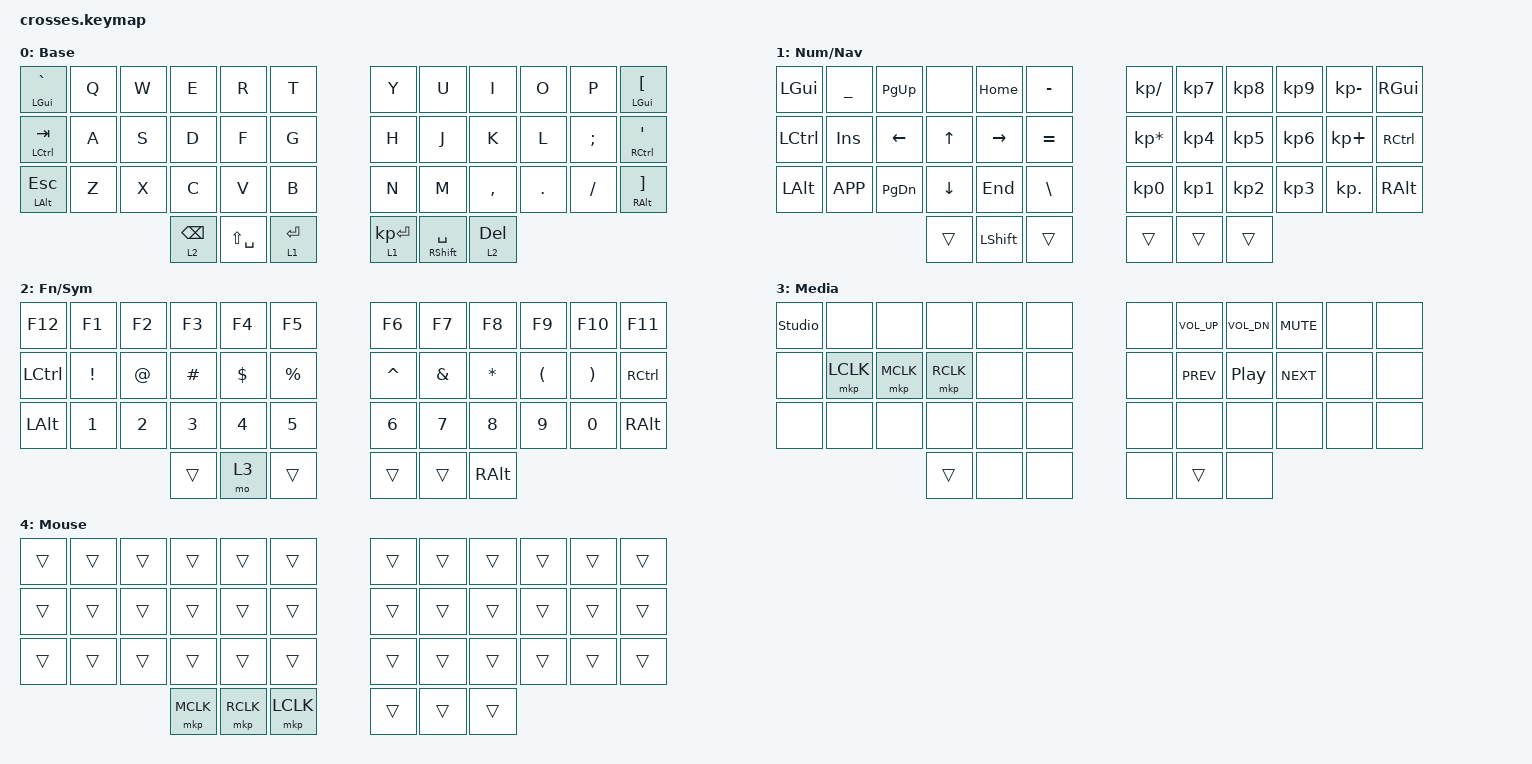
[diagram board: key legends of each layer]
#include <behaviors.dtsi>
#include <dt-bindings/zmk/bt.h>
#include <dt-bindings/zmk/keys.h>
#include <dt-bindings/zmk/pointing.h>

/ {
    chosen { zmk,physical-layout = &gggw_crosses_42_layout; };

    behaviors {
        // home-row mod-tap: tap-preferred ~= QMK default mod-tap (no early hold on rollover)
        hm: home_row_mod {
            compatible = "zmk,behavior-hold-tap";
            #binding-cells = <2>;
            flavor = "tap-preferred";
            tapping-term-ms = <200>;
            quick-tap-ms = <175>;
            bindings = <&kp>, <&kp>;
        };

        // Thumb mod-tap: "balanced" so the modifier engages on a chord (press+release
        // of another key during the hold) -> reliable Shift+Enter etc. Thumbs rarely
        // get rolled like home-row keys, so this is safe here (letters keep tap-preferred).
        thm: thumb_mod_tap {
            compatible = "zmk,behavior-hold-tap";
            #binding-cells = <2>;
            flavor = "balanced";
            tapping-term-ms = <200>;
            quick-tap-ms = <175>;
            bindings = <&kp>, <&kp>;
        };
    };

    // Tri-layer: holding the Nav (1) and Fn (2) thumb-layers together activates
    // Media (3) -> easy media access without sacrificing any base key.
    conditional_layers {
        compatible = "zmk,conditional-layers";
        tri_media {
            if-layers = <1 2>;
            then-layer = <3>;
        };
    };

    keymap {
        compatible = "zmk,keymap";

        // Layer 0 — Base (QWERTY + home-row mods + layer-tap thumbs), 1:1 з Corne
        default_layer {
            display-name = "Base";
            bindings = <
                &hm LGUI GRAVE  &kp Q &kp W &kp E &kp R &kp T      &kp Y &kp U &kp I     &kp O   &kp P    &hm LGUI LBKT
                &hm LCTRL TAB   &kp A &kp S &kp D &kp F &kp G      &kp H &kp J &kp K     &kp L   &kp SEMI &hm RCTRL SQT
                &hm LALT ESC    &kp Z &kp X &kp C &kp V &kp B      &kp N &kp M &kp COMMA &kp DOT &kp FSLH &hm RALT RBKT
                                  &lt 2 BSPC &kp LS(SPACE) &lt 1 RET    &lt 1 KP_ENTER &thm RSHFT SPACE &lt 2 DEL
            >;
        };

        // Layer 1 — Lower (numpad + navigation)
        lower_layer {
            display-name = "Num/Nav";
            bindings = <
                &kp LGUI  &kp UNDER &kp PG_UP &none    &kp HOME  &kp MINUS    &kp KP_DIVIDE   &kp KP_N7 &kp KP_N8 &kp KP_N9 &kp KP_MINUS &kp RGUI
                &kp LCTRL &kp INS   &kp LEFT  &kp UP   &kp RIGHT &kp EQUAL    &kp KP_MULTIPLY &kp KP_N4 &kp KP_N5 &kp KP_N6 &kp KP_PLUS  &kp RCTRL
                &kp LALT  &kp K_APP &kp PG_DN &kp DOWN &kp END   &kp BSLH     &kp KP_N0       &kp KP_N1 &kp KP_N2 &kp KP_N3 &kp KP_DOT   &kp RALT
                                       &trans &kp LSHFT &trans       &trans &trans &trans
            >;
        };

        // Layer 2 — Raise (F-keys + symbols + number row)
        raise_layer {
            display-name = "Fn/Sym";
            bindings = <
                &kp F12   &kp F1   &kp F2 &kp F3   &kp F4   &kp F5      &kp F6    &kp F7   &kp F8    &kp F9   &kp F10  &kp F11
                &kp LCTRL &kp EXCL &kp AT &kp HASH &kp DLLR &kp PRCNT   &kp CARET &kp AMPS &kp ASTRK &kp LPAR &kp RPAR &kp RCTRL
                &kp LALT  &kp N1   &kp N2 &kp N3   &kp N4   &kp N5      &kp N6    &kp N7   &kp N8    &kp N9   &kp N0   &kp RALT
                                       &trans &mo 3 &trans     &trans &trans &kp RALT
            >;
        };

        // Layer 3 — Adjust/Media (+ studio_unlock + trackball clicks, additions for this board)
        media_layer {
            display-name = "Media";
            bindings = <
                &studio_unlock &none     &none     &none     &none &none      &none  &kp C_VOL_UP &kp C_VOL_DN &kp C_MUTE &none &none
                &none          &mkp LCLK &mkp MCLK &mkp RCLK &none &none      &none  &kp C_PREV   &kp C_PP     &kp C_NEXT &none &none
                &none          &none     &none     &none     &none &none      &none  &none        &none        &none      &none &none
                                            &trans &none &none       &none &trans &none
            >;
        };

        // Layer 4 — Mouse (auto-activated by RIGHT trackball motion via zip_temp_layer).
        // Transparent everywhere (base shows through / any keypress drops the layer);
        // left thumb cluster = clicks while the right hand drives the cursor.
        mouse_layer {
            display-name = "Mouse";
            bindings = <
                &trans &trans &trans &trans &trans &trans      &trans &trans &trans &trans &trans &trans
                &trans &trans &trans &trans &trans &trans      &trans &trans &trans &trans &trans &trans
                &trans &trans &trans &trans &trans &trans      &trans &trans &trans &trans &trans &trans
                                 &mkp MCLK &mkp RCLK &mkp LCLK    &trans &trans &trans
            >;
        };
    };
};

// QMK-style "tap, then tap-and-hold = repeat" on all layer-taps (thumb BSPC/DEL/RET/KP_ENTER).
// Default &lt has quick-tap-ms = 0 (no repeat); normal hold still activates the layer.
&lt {
    quick-tap-ms = <200>;
};

// Auto-mouse-layer: moving the RIGHT trackball (cursor) temporarily enables layer 4
// (Mouse) for 500ms. excluded-positions = the 3 left-thumb CLICK keys (36/37/38):
// pressing them keeps the layer (so you can click repeatedly), while ANY OTHER key
// deactivates it immediately. Without excluded-positions the keypress-deactivation
// handler isn't even compiled in, so only the 500ms timer drops the layer -- and
// force-awake sensor jitter keeps rescheduling that timer, leaving the layer stuck on
// until reconnect. require-prior-idle-ms keeps a bump just after typing from re-raising it.
&zip_temp_layer {
    require-prior-idle-ms = <150>;
    excluded-positions = <36 37 38>;
};

&trackball_central_listener {
    input-processors = <&zip_temp_layer 4 500>, <&zip_ble_report_rate_limit>;
};

// Mitigate left-half (scroll peripheral) hang under heavy scrolling: emit fewer
// wheel ticks (1/4 -> 1/8) so the split link to the central isn't flooded.
&trackball_peripheral_split {
    input-processors = <&zip_xy_to_scroll_mapper>, <&zip_scroll_scaler 1 12>, <&zip_ble_report_rate_limit>;
};

// Stop the Mouse auto-layer from sticking: force-awake keeps the RIGHT cursor
// sensor always sampling, and its idle jitter keeps rescheduling zip_temp_layer's
// 500ms disable timer so the layer never times out. Drop force-awake so the sensor
// rests when idle (~2.5s RUN downshift) and stops emitting jitter; cost is a small
// wake lag on first cursor move. Central-only: trackball_central exists on the right
// build only, so guard the reference or the left (peripheral) build fails to compile.
#ifdef CONFIG_ZMK_SPLIT_ROLE_CENTRAL
&trackball_central {
    /delete-property/ force-awake;
};
#endif
